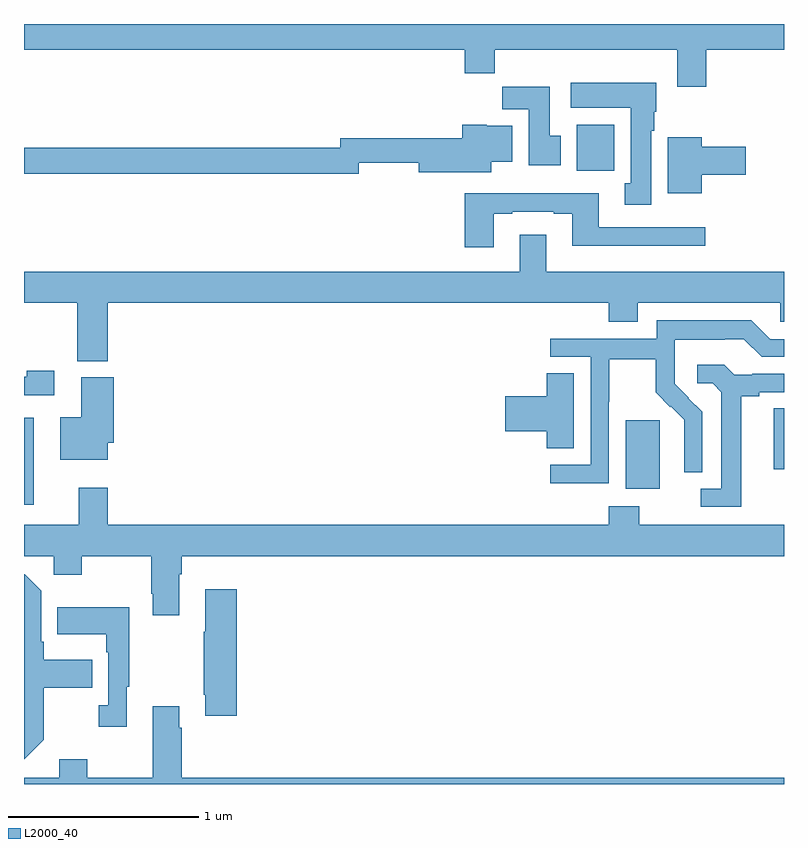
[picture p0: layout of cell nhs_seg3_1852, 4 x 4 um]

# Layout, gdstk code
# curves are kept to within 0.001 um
import gdstk
lib = gdstk.Library(unit=1e-6, precision=1e-09)
def R(c, l, rs):  # rectangles x0, y0, x1, y1
    for r in rs: c.add(gdstk.rectangle(r[:2], r[2:], *l))
def P(c, l, *ps):  # polygons
    for p in ps: c.add(gdstk.Polygon(p, *l))
L2000_40 = (2000, 40)

nhs_seg3_1852 = lib.new_cell('nhs_seg3_1852')
R(nhs_seg3_1852, L2000_40, [(207,683.871,207.052,684.328), (210.167,683.954,210.346,684.315), (210.947,684.057,211,684.377), (209.909,685.628,210.106,685.87)])
P(nhs_seg3_1852, L2000_40, [(210.59,686.264),(211,686.264),(211,686.4),(207,686.4),(207,686.264),(209.321,686.264),(209.321,686.14),(209.477,686.14),(209.477,686.264),(210.437,686.264),(210.437,686.07),(210.59,686.07)],
  [(210.301,685.838),(210.316,685.838),(210.316,685.938),(210.328,685.938),(210.328,686.092),(209.877,686.092),(209.877,685.958),(210.194,685.958),(210.194,685.562),(210.161,685.562),(210.161,685.449),(210.301,685.449)],
  [(209.824,685.812),(209.767,685.812),(209.767,686.071),(209.518,686.071),(209.518,685.952),(209.657,685.952),(209.657,685.656),(209.824,685.656)],
  [(208.761,685.669),(209.078,685.669),(209.078,685.619),(209.458,685.619),(209.458,685.676),(209.569,685.676),(209.569,685.864),(209.436,685.864),(209.436,685.87),(209.306,685.87),(209.306,685.798),(208.665,685.798),(208.665,685.748),(207,685.748),(207,685.612),(208.761,685.612)],
  [(210.568,685.607),(210.799,685.607),(210.799,685.754),(210.568,685.754),(210.568,685.804),(210.389,685.804),(210.389,685.508),(210.568,685.508)],
  [(209.473,685.401),(209.569,685.401),(209.569,685.413),(209.789,685.413),(209.789,685.401),(209.885,685.401),(209.885,685.232),(210.586,685.232),(210.586,685.329),(210.025,685.329),(210.025,685.51),(209.321,685.51),(209.321,685.224),(209.473,685.224)],
  [(207.44,684.932),(210.077,684.932),(210.077,684.833),(210.229,684.833),(210.229,684.932),(210.981,684.932),(210.981,684.834),(211,684.834),(211,685.096),(209.749,685.096),(209.749,685.291),(209.609,685.291),(209.609,685.096),(207,685.096),(207,684.932),(207.28,684.932),(207.28,684.626),(207.44,684.626)],
  [(210.078,684.412),(210.081,684.412),(210.081,684.636),(210.325,684.636),(210.325,684.461),(210.402,684.384),(210.405,684.387),(210.476,684.317),(210.476,684.194),(210.474,684.194),(210.474,684.04),(210.57,684.04),(210.57,684.358),(210.424,684.506),(210.424,684.603),(210.426,684.603),(210.426,684.737),(210.689,684.737),(210.689,684.741),(210.789,684.741),(210.882,684.648),(211,684.648),(211,684.741),(210.927,684.741),(210.827,684.841),(210.33,684.841),(210.33,684.744),(209.769,684.744),(209.769,684.648),(209.982,684.648),(209.982,684.081),(209.769,684.081),(209.769,683.983),(210.078,683.983)],
  [(210.775,684.44),(210.871,684.44),(210.871,684.462),(211,684.462),(211,684.558),(210.832,684.558),(210.832,684.555),(210.738,684.555),(210.686,684.607),(210.543,684.607),(210.543,684.51),(210.624,684.51),(210.671,684.463),(210.671,683.955),(210.561,683.955),(210.561,683.859),(210.775,683.859)],
  [(207.16,684.576),(207.015,684.576),(207.015,684.543),(207,684.543),(207,684.447),(207.16,684.447)],
  [(209.893,684.563),(209.75,684.563),(209.75,684.44),(209.532,684.44),(209.532,684.257),(209.75,684.257),(209.75,684.166),(209.893,684.166)],
  [(207.442,684.195),(207.473,684.195),(207.473,684.541),(207.302,684.541),(207.302,684.331),(207.191,684.331),(207.191,684.107),(207.442,684.107)],
  [(207.817,683.504),(207.83,683.504),(207.83,683.6),(211,683.6),(211,683.764),(210.237,683.764),(210.237,683.863),(210.077,683.863),(210.077,683.764),(207.44,683.764),(207.44,683.959),(207.287,683.959),(207.287,683.764),(207,683.764),(207,683.6),(207.156,683.6),(207.156,683.501),(207.303,683.501),(207.303,683.6),(207.67,683.6),(207.67,683.401),(207.677,683.401),(207.677,683.289),(207.817,683.289)],
  [(207.103,682.633),(207.103,682.906),(207.359,682.906),(207.359,683.053),(207.103,683.053),(207.103,683.149),(207.09,683.149),(207.09,683.418),(207.003,683.505),(207,683.505),(207,682.53)],
  [(208.121,683.425),(207.953,683.425),(207.953,683.201),(207.946,683.201),(207.946,682.87),(207.953,682.87),(207.953,682.758),(208.121,682.758)],
  [(207.541,682.913),(207.553,682.913),(207.553,683.329),(207.175,683.329),(207.175,683.189),(207.432,683.189),(207.432,683.093),(207.444,683.093),(207.444,682.814),(207.393,682.814),(207.393,682.701),(207.541,682.701)],
  [(211,682.432),(207.83,682.432),(207.83,682.697),(207.817,682.697),(207.817,682.81),(207.677,682.81),(207.677,682.432),(207.333,682.432),(207.333,682.531),(207.185,682.531),(207.185,682.432),(207,682.432),(207,682.4),(211,682.4)])

lib.write_gds('nhs_seg3_1852.gds')
